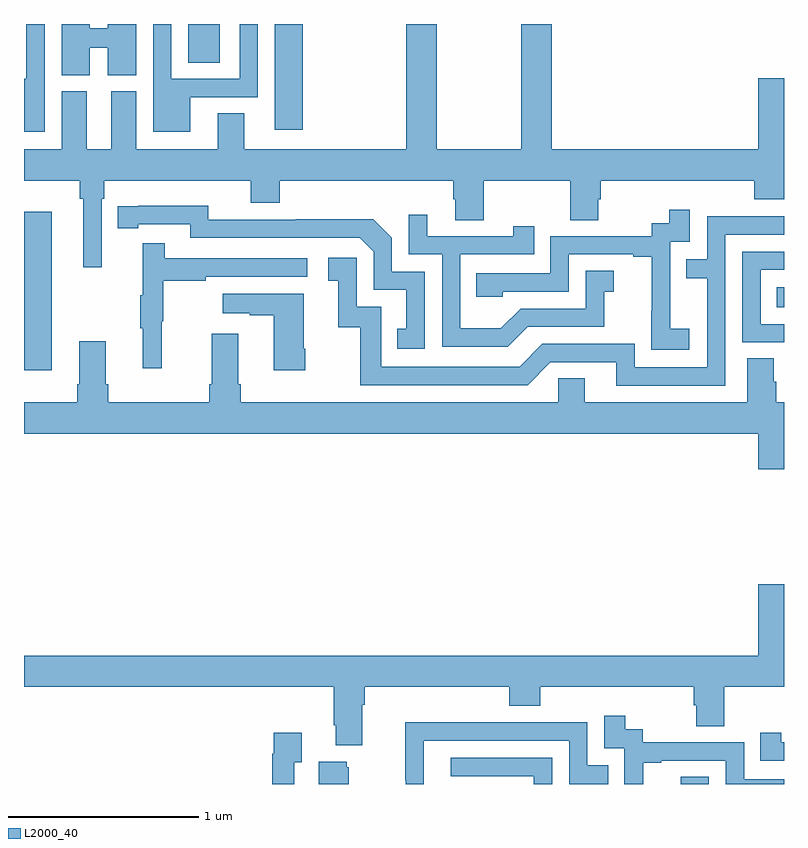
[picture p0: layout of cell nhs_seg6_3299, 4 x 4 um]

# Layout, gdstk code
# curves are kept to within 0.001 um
import gdstk
lib = gdstk.Library(unit=1e-6, precision=1e-09)
def R(c, l, rs):  # rectangles x0, y0, x1, y1
    for r in rs: c.add(gdstk.rectangle(r[:2], r[2:], *l))
def P(c, l, *ps):  # polygons
    for p in ps: c.add(gdstk.Polygon(p, *l))
L2000_40 = (2000, 40)

nhs_seg6_3299 = lib.new_cell('nhs_seg6_3299')
R(nhs_seg6_3299, L2000_40, [(308.457,937.5,308.604,937.537), (305,939.678,305.146,940.513), (308.962,940.01,309,940.114), (306.32,940.944,306.467,941.5), (305.864,941.296,306.031,941.5)])
P(nhs_seg6_3299, L2000_40, [(305.347,941.374),(305.441,941.374),(305.441,941.23),(305.59,941.23),(305.59,941.5),(305.441,941.5),(305.441,941.477),(305.347,941.477),(305.347,941.5),(305.198,941.5),(305.198,941.23),(305.347,941.23)],
  [(305.329,941.145),(305.198,941.145),(305.198,940.84),(305,940.84),(305,940.676),(305.293,940.676),(305.293,940.58),(305.312,940.58),(305.312,940.221),(305.409,940.221),(305.409,940.58),(305.423,940.58),(305.423,940.676),(306.194,940.676),(306.194,940.559),(306.347,940.559),(306.347,940.676),(307.259,940.676),(307.259,940.578),(307.271,940.578),(307.271,940.468),(307.419,940.468),(307.419,940.676),(307.876,940.676),(307.876,940.468),(308.023,940.468),(308.023,940.578),(308.036,940.578),(308.036,940.676),(308.843,940.676),(308.843,940.577),(309,940.577),(309,941.215),(308.864,941.215),(308.864,940.84),(307.778,940.84),(307.778,941.5),(307.618,941.5),(307.618,940.84),(307.173,940.84),(307.173,941.5),(307.013,941.5),(307.013,940.84),(306.16,940.84),(306.16,941.03),(306.02,941.03),(306.02,940.84),(305.59,940.84),(305.59,941.145),(305.459,941.145),(305.459,940.84),(305.329,940.84)],
  [(305.109,941.5),(305.013,941.5),(305.013,941.211),(305,941.211),(305,940.934),(305.109,940.934)],
  [(305.875,941.115),(306.231,941.115),(306.231,941.5),(306.135,941.5),(306.135,941.211),(305.775,941.211),(305.775,941.5),(305.679,941.5),(305.679,940.934),(305.875,940.934)],
  [(307.11,940.197),(306.936,940.197),(306.936,940.374),(306.838,940.472),(306.43,940.472),(306.43,940.47),(305.97,940.47),(305.97,940.543),(305.494,940.542),(305.494,940.426),(305.602,940.426),(305.602,940.446),(305.874,940.446),(305.874,940.374),(306.768,940.374),(306.84,940.302),(306.84,940.101),(307.013,940.101),(307.013,939.897),(306.964,939.897),(306.964,939.792),(307.11,939.792)],
  [(308.5,939.895),(308.402,939.895),(308.402,940.124),(308.4,940.124),(308.4,940.353),(308.505,940.353),(308.505,940.522),(308.397,940.522),(308.397,940.452),(308.304,940.452),(308.304,940.383),(307.77,940.383),(307.77,940.188),(307.381,940.188),(307.381,940.065),(307.521,940.065),(307.521,940.092),(307.866,940.092),(307.866,940.287),(308.207,940.287),(308.207,940.275),(308.303,940.275),(308.303,939.991),(308.302,939.991),(308.302,939.785),(308.5,939.785)],
  [(307.651,939.906),(308.055,939.906),(308.055,940.091),(308.104,940.091),(308.104,940.201),(307.956,940.201),(307.956,940.002),(307.614,940.002),(307.51,939.898),(307.296,939.898),(307.296,940.287),(307.685,940.287),(307.685,940.435),(307.574,940.435),(307.574,940.383),(307.123,940.383),(307.123,940.495),(307.026,940.495),(307.026,940.287),(307.2,940.287),(307.2,939.801),(307.546,939.801)],
  [(308.691,940.392),(309,940.392),(309,940.488),(308.595,940.488),(308.595,940.263),(308.485,940.263),(308.485,940.162),(308.595,940.162),(308.595,939.693),(308.214,939.693),(308.214,939.816),(307.728,939.816),(307.608,939.696),(306.879,939.696),(306.879,940.011),(306.75,940.011),(306.75,940.27),(306.6,940.27),(306.6,940.149),(306.653,940.149),(306.653,939.903),(306.771,939.903),(306.771,939.6),(307.65,939.6),(307.77,939.72),(308.117,939.72),(308.117,939.597),(308.691,939.597)],
  [(305.726,939.936),(305.734,939.936),(305.734,940.15),(305.957,940.15),(305.957,940.17),(306.49,940.17),(306.49,940.266),(305.741,940.266),(305.741,940.345),(305.624,940.345),(305.624,940.073),(305.613,940.073),(305.613,939.899),(305.624,939.899),(305.624,939.687),(305.726,939.687)],
  [(309,939.921),(308.877,939.921),(308.877,940.206),(309,940.206),(309,940.302),(308.781,940.302),(308.781,939.825),(309,939.825)],
  [(306.48,939.79),(306.472,939.79),(306.472,940.081),(306.045,940.081),(306.045,939.977),(306.188,939.977),(306.188,939.967),(306.314,939.967),(306.314,939.678),(306.48,939.678)],
  [(309,939.508),(308.96,939.508),(308.96,939.617),(308.946,939.617),(308.946,939.74),(308.807,939.74),(308.807,939.508),(307.951,939.508),(307.951,939.635),(307.812,939.635),(307.812,939.508),(306.14,939.508),(306.14,939.604),(306.127,939.604),(306.127,939.871),(305.987,939.871),(305.987,939.604),(305.975,939.604),(305.975,939.508),(305.444,939.508),(305.444,939.604),(305.431,939.604),(305.431,939.829),(305.291,939.829),(305.291,939.604),(305.279,939.604),(305.279,939.508),(305,939.508),(305,939.344),(308.864,939.344),(308.864,939.156),(309,939.156)],
  [(306.781,937.916),(306.794,937.916),(306.794,938.012),(307.553,938.012),(307.553,937.913),(307.718,937.913),(307.718,938.012),(308.525,938.012),(308.525,937.914),(308.537,937.914),(308.537,937.804),(308.685,937.804),(308.685,938.012),(309,938.012),(309,938.551),(308.864,938.551),(308.864,938.176),(305,938.176),(305,938.012),(306.629,938.012),(306.629,937.81),(306.641,937.81),(306.641,937.703),(306.781,937.703)],
  [(308.258,937.611),(308.353,937.611),(308.353,937.623),(308.694,937.623),(308.694,937.5),(309,937.5),(309,937.524),(308.79,937.524),(308.79,937.719),(308.256,937.719),(308.256,937.788),(308.164,937.788),(308.164,937.858),(308.055,937.858),(308.055,937.689),(308.16,937.689),(308.16,937.5),(308.258,937.5)],
  [(307.105,937.728),(307.869,937.728),(307.869,937.5),(308.075,937.5),(308.075,937.599),(307.965,937.599),(307.965,937.824),(307.469,937.824),(307.469,937.826),(307.006,937.826),(307.006,937.519),(307.008,937.519),(307.008,937.5),(307.105,937.5)],
  [(309,937.719),(308.986,937.719),(308.986,937.771),(308.875,937.771),(308.875,937.623),(309,937.623)],
  [(306.423,937.615),(306.463,937.615),(306.463,937.771),(306.315,937.771),(306.315,937.658),(306.307,937.658),(306.307,937.5),(306.423,937.5)],
  [(307.779,937.638),(307.245,937.638),(307.245,937.542),(307.683,937.542),(307.683,937.5),(307.779,937.5)],
  [(306.709,937.587),(306.698,937.587),(306.698,937.618),(306.551,937.618),(306.551,937.5),(306.709,937.5)])

lib.write_gds('nhs_seg6_3299.gds')
